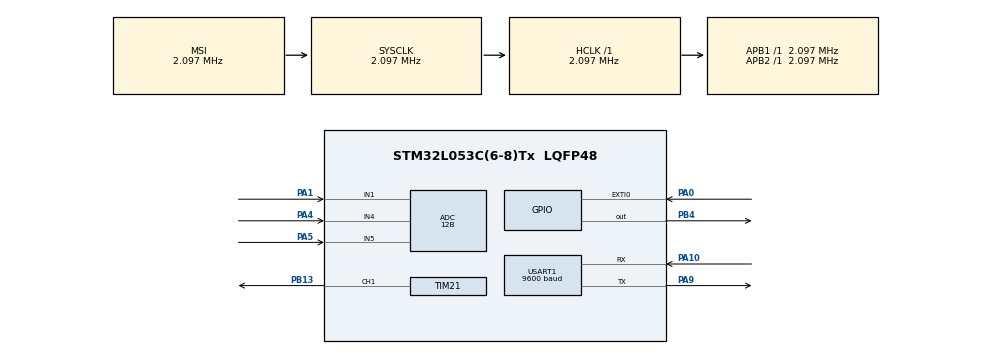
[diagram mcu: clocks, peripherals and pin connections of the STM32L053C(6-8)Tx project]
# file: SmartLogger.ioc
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ADC.ClockPrescaler=ADC_CLOCK_SYNC_PCLK_DIV1
ADC.ContinuousConvMode=ENABLE
ADC.DMAContinuousRequests=ENABLE
ADC.DataAlign=ADC_DATAALIGN_RIGHT
ADC.DiscontinuousConvMode=DISABLE
ADC.EOCSelection=ADC_EOC_SINGLE_CONV
ADC.EnableAnalogWatchDog=false
ADC.ExternalTrigConvEdge=ADC_EXTERNALTRIGCONVEDGE_NONE
ADC.LowPowerAutoPowerOff=DISABLE
ADC.LowPowerAutoWait=DISABLE
ADC.LowPowerFrequencyMode=DISABLE
ADC.Overrun=ADC_OVR_DATA_PRESERVED
ADC.OversamplingMode=DISABLE
ADC.Resolution=ADC_RESOLUTION_12B
ADC.SamplingTime=ADC_SAMPLETIME_7CYCLES_5
ADC.ScanConvMode=ADC_SCAN_DIRECTION_FORWARD
Dma.ADC.0.Direction=DMA_PERIPH_TO_MEMORY
Dma.ADC.0.Instance=DMA1_Channel1
Dma.ADC.0.MemDataAlignment=DMA_MDATAALIGN_WORD
Dma.ADC.0.MemInc=DMA_MINC_ENABLE
Dma.ADC.0.Mode=DMA_NORMAL
Dma.ADC.0.PeriphDataAlignment=DMA_PDATAALIGN_WORD
Dma.ADC.0.PeriphInc=DMA_PINC_DISABLE
Dma.ADC.0.Priority=DMA_PRIORITY_LOW
Dma.Request0=ADC
Mcu.Family=STM32L0
Mcu.Name=STM32L053C(6-8)Tx
Mcu.Package=LQFP48
NVIC.DMA1_Channel1_IRQn=true\:0\:0\:false\:false\:true
NVIC.EXTI0_1_IRQn=true\:1\:0\:true\:false\:true
NVIC.TIM6_DAC_IRQn=true\:1\:0\:true\:false\:true
NVIC.USART1_IRQn=true\:0\:0\:false\:false\:true
PA0.Signal=GPXTI0
PA1.Mode=IN1
PA1.Signal=ADC_IN1
PA10.Mode=Asynchronous
PA10.Signal=USART1_RX
PA4.Mode=IN4
PA4.Signal=ADC_IN4
PA5.Mode=IN5
PA5.Signal=ADC_IN5
PA9.Mode=Asynchronous
PA9.Signal=USART1_TX
PB13.Signal=S_TIM21_CH1
PB4.Signal=GPIO_Output
ProjectManager.HeapSize=0x200
ProjectManager.StackSize=0x400
ProjectManager.TargetToolchain=MDK-ARM V5
RCC.AHBFreq_Value=2097000
RCC.APB1Freq_Value=2097000
RCC.APB1TimFreq_Value=2097000
RCC.APB2Freq_Value=2097000
RCC.APB2TimFreq_Value=2097000
RCC.HSE_VALUE=8000000
RCC.HSI16_VALUE=16000000
RCC.HSI48_VALUE=48000000
RCC.HSI_VALUE=16000000
RCC.LSE_VALUE=32768
RCC.MSI_VALUE=2097000
RCC.SYSCLKFreq_VALUE=2097000
RCC.VCOOutputFreq_Value=48000000
SH.S_TIM21_CH1.0=TIM21_CH1,PWM Generation1 CH1
TIM21.Period=100
TIM21.Prescaler=21
TIM21.Pulse-PWM\ Generation1\ CH1=50
TIM6.Period=1000
TIM6.Prescaler=2097
USART1.BaudRate=9600
USART1.WordLength=UART_WORDLENGTH_8B
VP_TIM6_VS_ClockSourceINT.Mode=Enable_Timer
board=SmartLogger

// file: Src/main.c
/**
  ******************************************************************************
  * File Name          : main.c
  * Description        : Main program body
  ******************************************************************************
  *
  * COPYRIGHT(c) 2016 STMicroelectronics
  *
  * Redistribution and use in source and binary forms, with or without modification,
  * are permitted provided that the following conditions are met:
  *   1. Redistributions of source code must retain the above copyright notice,
  *      this list of conditions and the following disclaimer.
  *   2. Redistributions in binary form must reproduce the above copyright notice,
  *      this list of conditions and the following disclaimer in the documentation
  *      and/or other materials provided with the distribution.
  *   3. Neither the name of STMicroelectronics nor the names of its contributors
  *      may be used to endorse or promote products derived from this software
  *      without specific prior written permission.
  *
  * THIS SOFTWARE IS PROVIDED BY THE COPYRIGHT HOLDERS AND CONTRIBUTORS "AS IS"
  * AND ANY EXPRESS OR IMPLIED WARRANTIES, INCLUDING, BUT NOT LIMITED TO, THE
  * IMPLIED WARRANTIES OF MERCHANTABILITY AND FITNESS FOR A PARTICULAR PURPOSE ARE
  * DISCLAIMED. IN NO EVENT SHALL THE COPYRIGHT HOLDER OR CONTRIBUTORS BE LIABLE
  * FOR ANY DIRECT, INDIRECT, INCIDENTAL, SPECIAL, EXEMPLARY, OR CONSEQUENTIAL
  * DAMAGES (INCLUDING, BUT NOT LIMITED TO, PROCUREMENT OF SUBSTITUTE GOODS OR
  * SERVICES; LOSS OF USE, DATA, OR PROFITS; OR BUSINESS INTERRUPTION) HOWEVER
  * CAUSED AND ON ANY THEORY OF LIABILITY, WHETHER IN CONTRACT, STRICT LIABILITY,
  * OR TORT (INCLUDING NEGLIGENCE OR OTHERWISE) ARISING IN ANY WAY OUT OF THE USE
  * OF THIS SOFTWARE, EVEN IF ADVISED OF THE POSSIBILITY OF SUCH DAMAGE.
  *
  ******************************************************************************
  */
#include "stm32l0xx_hal.h"
#include <string.h>
#include <stdio.h>
#include <math.h>

ADC_HandleTypeDef hadc;
DMA_HandleTypeDef hdma_adc;
TIM_HandleTypeDef htim6;
TIM_HandleTypeDef htim21;
UART_HandleTypeDef huart1;

/* USER CODE BEGIN PV */
char nl,chr;
float temp,curr;

typedef struct{
	uint8_t hour;
	uint8_t min;
	uint8_t sec;
	uint8_t sub;
	uint8_t interval;
}Timer;
Timer myTimer;

#define SENDMSG(__R__) HAL_UART_Transmit(&huart1,(uint8_t*)__R__, COUNTOF(__R__) ,500);
#define COUNTOF(__BUFFER__)   (sizeof(__BUFFER__) / sizeof(*(__BUFFER__)))
/* Private variables ---------------------------------------------------------*/
char RBUF;
uint16_t i;
uint32_t abuf[3];
uint32_t tempT;

/*State machine variable*/
typedef enum{
	welcome = 0U,
	logging,
	monitor,
	setting,
}osState;

typedef struct{
	osState state;
	volatile uint8_t mflg;
	volatile uint8_t deci_sec_flg;
	volatile uint8_t sec_flg;
	volatile uint8_t timer_flg;
}StateMachine;
StateMachine mySM;

typedef struct{
	volatile float TcalA[5];
	uint8_t latch;
	uint8_t empty;
}SettingData;
SettingData myDat;

typedef struct{
	char info[50];
	char result[50];
	char error[50];
	char names[50];
}MSG;
MSG myMSG;

volatile osState state = welcome;

#define FLASH_USER_START_ADDR   0x8008000   /* Start @ of user Flash area */
#define FLASH_USER_END_ADDR     0x800f100   /* End @ of user Flash area */
uint32_t FirstPage = 0, NbOfPages = 0, Address = 0;
uint32_t PageError = 0;
static FLASH_EraseInitTypeDef EraseInitStruct;

/* USER CODE END PV */

void SystemClock_Config(void);
void Error_Handler(void);
static void MX_GPIO_Init(void);
static void MX_DMA_Init(void);
static void MX_ADC_Init(void);
static void MX_TIM6_Init(void);
static void MX_USART1_UART_Init(void);
static void MX_TIM21_Init(void);

void HAL_TIM_MspPostInit(TIM_HandleTypeDef *htim);

/* USER CODE BEGIN PFP */
/* Private function prototypes -----------------------------------------------*/
osState transState(osState,uint8_t);

/* USER CODE END PFP */

/* USER CODE BEGIN 0 */
void HAL_UART_RxCpltCallback(UART_HandleTypeDef *h)
{
	state = transState(state,RBUF);
	HAL_TIM_PWM_Start(&htim21,TIM_CHANNEL_1);
	for(i=0;i<999;i++);
	HAL_TIM_PWM_Stop(&htim21,TIM_CHANNEL_1);
	HAL_UART_Receive_IT(&huart1, (uint8_t *)&RBUF, 1);
}

void HAL_TIM_PeriodElapsedCallback(TIM_HandleTypeDef *htim)
{
	/*if (sec==1)
		HAL_TIM_PWM_Start(&htim21,TIM_CHANNEL_1);
	else if (sec==2)
		HAL_TIM_PWM_Stop(&htim21,TIM_CHANNEL_1);
	else{
		if (!mflg){
		HAL_TIM_PWM_Start(&htim21,TIM_CHANNEL_1);
		HAL_Delay(2);
		HAL_TIM_PWM_Stop(&htim21,TIM_CHANNEL_1);
		}
	}*/

	myTimer.sub++;
	HAL_GPIO_TogglePin(GPIOB, GPIO_PIN_4);

	if (myTimer.sub % 50 == 0) mySM.deci_sec_flg = 1;

	if(myTimer.sub == 100){
		myTimer.sub = 0;
		myTimer.sec++;
		mySM.sec_flg = 1;
		if(myTimer.sec == 60){
			myTimer.sec = 0;
			myTimer.min++;
			if(myTimer.min == 60){
				myTimer.min = 0;
				myTimer.hour++;
			}
		}
	}
		//HAL_TIM_PWM_Start(&htim21,TIM_CHANNEL_1);
}
void HAL_GPIO_EXTI_Callback(uint16_t GPIO_Pin)
{
	/*HAL_TIM_Base_Stop_IT(&htim6);
	HAL_TIM_Base_Stop(&htim6);
	HAL_ADC_Stop_DMA(&hadc);
	state = welcome;
	*/
	mySM.mflg = 1 - mySM.mflg;
	HAL_FLASH_Unlock();
	NbOfPages = (FLASH_USER_END_ADDR - FLASH_USER_START_ADDR + 1) >> 7;
	EraseInitStruct.TypeErase = FLASH_TYPEERASE_PAGES;
	EraseInitStruct.PageAddress = FLASH_USER_START_ADDR;
	EraseInitStruct.NbPages = NbOfPages;
	HAL_FLASHEx_Erase(&EraseInitStruct, &PageError);
	myDat.TcalA[0] = .1;
	myDat.TcalA[1] = .2;
	myDat.TcalA[2] = .3;
	myDat.TcalA[3] = pow(4,2.2);
	myDat.TcalA[4] = sin(3.1416);
	memcpy((SettingData*)FLASH_USER_START_ADDR, &myDat, sizeof(SettingData));
	memcpy(&myDat, (SettingData*)FLASH_USER_START_ADDR, sizeof(SettingData));
	HAL_FLASH_Lock();
}

void num2str(uint16_t num)
{
  uint16_t i, j;
  uint8_t	res;
  j = 1000;
	for(i = 4; i > 0; i--){
    res = (num / j) % 10 + '0';
		HAL_UART_Transmit(&huart1, &res, 1 ,100);
		j = j / 10;
  }
}

osState transState(osState state,uint8_t cmd){
	osState res = welcome;
 switch(state){
		case welcome:
			switch(cmd){
				case '1':{
						res = logging;
						break;
					}
				case '2':{
						res = monitor;
						break;
					}
				case '3':{
						res = setting;
						break;
					}
				default: break;
			}
			break;
		case logging:
			switch(cmd){
				case '0':{
						res = welcome;
						break;
					}
				default: break;
			}
			break;
		case monitor:
			switch(cmd){
				case '0':{
						res = welcome;
						break;
					}
				default: break;
			}
			break;
		case setting:
			switch(cmd){
				case '0':{
						res = welcome;
						break;
					}
				default: break;
			}
			break;
		default: break;
	}
	/*switch(cmd){
		case '1':{PRINTS("start logging",newline)};break;
		case '2':{PRINTS("monitoring",newline)};break;
		case '3':{PRINTS("setting",newline)};break;
		case '4':{PRINTS("calibrating",newline)};break;
		default: break;
	}*/
	return res;
}

/* USER CODE END 0 */

int main(void)
{

  /* MCU Configuration----------------------------------------------------------*/

  /* Reset of all peripherals, Initializes the Flash interface and the Systick. */
  HAL_Init();

  /* Configure the system clock */
  SystemClock_Config();

  /* Initialize all configured peripherals */
  MX_GPIO_Init();
  MX_DMA_Init();
  MX_ADC_Init();
  MX_TIM6_Init();
  MX_USART1_UART_Init();
  MX_TIM21_Init();

  /* USER CODE BEGIN 2 */
	sprintf(myMSG.info,"\n\r\n\r\n\r\n\r\n\r\n\r\n\r\n\r\n\r\n\r\n\r\n\r\n\r\n\r\n\r\n\r\n\r");
	SENDMSG(myMSG.info)
	sprintf(myMSG.info,"***********************************************\n\r");
	SENDMSG(myMSG.info)
	sprintf(myMSG.info,"Welcome to the EYEQ4 chip validation logger!\n\r");
	SENDMSG(myMSG.info)

	HAL_ADCEx_Calibration_Start(&hadc, ADC_SINGLE_ENDED);
	HAL_TIM_Base_Start(&htim21);
	//HAL_TIM_PWM_Start(&htim21,TIM_CHANNEL_1);

  /* USER CODE END 2 */

  /* Infinite loop */
  while (1)
  {

  /* USER CODE BEGIN 3 */
		if(state == welcome){
			myTimer.hour = 0;
			myTimer.min = 0;
			myTimer.sec = 0;
			myTimer.sub = 0;
			HAL_TIM_Base_Stop_IT(&htim6);
			HAL_TIM_Base_Stop(&htim6);
			HAL_ADC_Stop_DMA(&hadc);
			sprintf(myMSG.info,"1.Logger\n\r2.Meter\n\r3.Settings\n\r            ");
			SENDMSG(myMSG.info)
			HAL_UART_Receive_IT(&huart1, (uint8_t *)&RBUF, 1);
			while(state == welcome){
			}
		}
		if(state == logging){
			HAL_TIM_Base_Start(&htim6);
			HAL_TIM_Base_Start_IT(&htim6);
			while(state == logging){
				if (mySM.sec_flg){
					mySM.sec_flg = 0;
					HAL_ADC_Start_DMA(&hadc,abuf,3);
					tempT = HAL_GetTick();
					while(tempT + 50> HAL_GetTick());
					HAL_ADC_Stop_DMA(&hadc);
					temp = ((float)abuf[0] / 32 + 50);
					curr = ((float)(abuf[2]-(float)abuf[1])/20);
					sprintf(myMSG.result,"\r%2d:%2d:%2d, %3.3f, %3.3f, %3.3f         ", myTimer.hour, myTimer.min, myTimer.sec, curr, temp, pow(temp,1.25));
					SENDMSG(myMSG.result)
					sprintf(myMSG.names,"\r\n  time     current     temperature");
					SENDMSG(myMSG.names)
					if (!mySM.mflg){
						HAL_TIM_PWM_Start(&htim21,TIM_CHANNEL_1);
						HAL_Delay(2);
						HAL_TIM_PWM_Stop(&htim21,TIM_CHANNEL_1);
					}
				}
			}
			HAL_TIM_Base_Stop_IT(&htim6);
			HAL_TIM_Base_Stop(&htim6);
		}
		if(state == monitor){
			sprintf(myMSG.info,"I1   I2   T1    T2               \n");
			SENDMSG(myMSG.info)
			HAL_TIM_Base_Start(&htim6);
			HAL_TIM_Base_Start_IT(&htim6);
			HAL_UART_Receive_IT(&huart1, (uint8_t *)&RBUF, 1);
			while(state == monitor){
				if (mySM.deci_sec_flg){
					mySM.deci_sec_flg = 0;
					HAL_ADC_Start_DMA(&hadc,abuf,3);
					tempT = HAL_GetTick();
					while(tempT + 50> HAL_GetTick());
					HAL_ADC_Stop_DMA(&hadc);
					temp = ((float)abuf[0] / 32 + 50);
					curr = ((float)(abuf[2]-(float)abuf[1])/20);
					sprintf(myMSG.result,"\r%3.3f, %3.3f, %3.3f                     ", curr, temp, pow(temp,1.25));
					SENDMSG(myMSG.result)
				}
			}
		}
  }
  /* USER CODE END 3 */

}

/** System Clock Configuration
*/
void SystemClock_Config(void)
{

  RCC_OscInitTypeDef RCC_OscInitStruct;
  RCC_ClkInitTypeDef RCC_ClkInitStruct;
  RCC_PeriphCLKInitTypeDef PeriphClkInit;

  __HAL_RCC_PWR_CLK_ENABLE();

  __HAL_PWR_VOLTAGESCALING_CONFIG(PWR_REGULATOR_VOLTAGE_SCALE1);

  RCC_OscInitStruct.OscillatorType = RCC_OSCILLATORTYPE_MSI;
  RCC_OscInitStruct.MSIState = RCC_MSI_ON;
  RCC_OscInitStruct.MSICalibrationValue = 0;
  RCC_OscInitStruct.MSIClockRange = RCC_MSIRANGE_5;
  RCC_OscInitStruct.PLL.PLLState = RCC_PLL_NONE;
  if (HAL_RCC_OscConfig(&RCC_OscInitStruct) != HAL_OK)
  {
    Error_Handler();
  }

  RCC_ClkInitStruct.ClockType = RCC_CLOCKTYPE_HCLK|RCC_CLOCKTYPE_SYSCLK
                              |RCC_CLOCKTYPE_PCLK1|RCC_CLOCKTYPE_PCLK2;
  RCC_ClkInitStruct.SYSCLKSource = RCC_SYSCLKSOURCE_MSI;
  RCC_ClkInitStruct.AHBCLKDivider = RCC_SYSCLK_DIV1;
  RCC_ClkInitStruct.APB1CLKDivider = RCC_HCLK_DIV1;
  RCC_ClkInitStruct.APB2CLKDivider = RCC_HCLK_DIV1;
  if (HAL_RCC_ClockConfig(&RCC_ClkInitStruct, FLASH_LATENCY_0) != HAL_OK)
  {
    Error_Handler();
  }

  PeriphClkInit.PeriphClockSelection = RCC_PERIPHCLK_USART1;
  PeriphClkInit.Usart1ClockSelection = RCC_USART1CLKSOURCE_PCLK2;
  if (HAL_RCCEx_PeriphCLKConfig(&PeriphClkInit) != HAL_OK)
  {
    Error_Handler();
  }

  HAL_SYSTICK_Config(HAL_RCC_GetHCLKFreq()/1000);

  HAL_SYSTICK_CLKSourceConfig(SYSTICK_CLKSOURCE_HCLK);

  /* SysTick_IRQn interrupt configuration */
  HAL_NVIC_SetPriority(SysTick_IRQn, 0, 0);
}

/* ADC init function */
static void MX_ADC_Init(void)
{

  ADC_ChannelConfTypeDef sConfig;

    /**Configure the global features of the ADC (Clock, Resolution, Data Alignment and number of conversion)
    */
  hadc.Instance = ADC1;
  hadc.Init.OversamplingMode = DISABLE;
  hadc.Init.ClockPrescaler = ADC_CLOCK_SYNC_PCLK_DIV1;
  hadc.Init.Resolution = ADC_RESOLUTION_12B;
  hadc.Init.SamplingTime = ADC_SAMPLETIME_7CYCLES_5;
  hadc.Init.ScanConvMode = ADC_SCAN_DIRECTION_FORWARD;
  hadc.Init.DataAlign = ADC_DATAALIGN_RIGHT;
  hadc.Init.ContinuousConvMode = ENABLE;
  hadc.Init.DiscontinuousConvMode = DISABLE;
  hadc.Init.ExternalTrigConvEdge = ADC_EXTERNALTRIGCONVEDGE_NONE;
  hadc.Init.DMAContinuousRequests = ENABLE;
  hadc.Init.EOCSelection = ADC_EOC_SINGLE_CONV;
  hadc.Init.Overrun = ADC_OVR_DATA_PRESERVED;
  hadc.Init.LowPowerAutoWait = DISABLE;
  hadc.Init.LowPowerFrequencyMode = DISABLE;
  hadc.Init.LowPowerAutoPowerOff = DISABLE;
  if (HAL_ADC_Init(&hadc) != HAL_OK)
  {
    Error_Handler();
  }

    /**Configure for the selected ADC regular channel to be converted.
    */
  sConfig.Channel = ADC_CHANNEL_1;
  sConfig.Rank = ADC_RANK_CHANNEL_NUMBER;
  if (HAL_ADC_ConfigChannel(&hadc, &sConfig) != HAL_OK)
  {
    Error_Handler();
  }

    /**Configure for the selected ADC regular channel to be converted.
    */
  sConfig.Channel = ADC_CHANNEL_4;
  if (HAL_ADC_ConfigChannel(&hadc, &sConfig) != HAL_OK)
  {
    Error_Handler();
  }

    /**Configure for the selected ADC regular channel to be converted.
    */
  sConfig.Channel = ADC_CHANNEL_5;
  if (HAL_ADC_ConfigChannel(&hadc, &sConfig) != HAL_OK)
  {
    Error_Handler();
  }

}

/* TIM6 init function */
static void MX_TIM6_Init(void)
{

  TIM_MasterConfigTypeDef sMasterConfig;

  htim6.Instance = TIM6;
  htim6.Init.Prescaler = 2097 / 100;
  htim6.Init.CounterMode = TIM_COUNTERMODE_UP;
  htim6.Init.Period = 1000;
  if (HAL_TIM_Base_Init(&htim6) != HAL_OK)
  {
    Error_Handler();
  }

  sMasterConfig.MasterOutputTrigger = TIM_TRGO_RESET;
  sMasterConfig.MasterSlaveMode = TIM_MASTERSLAVEMODE_DISABLE;
  if (HAL_TIMEx_MasterConfigSynchronization(&htim6, &sMasterConfig) != HAL_OK)
  {
    Error_Handler();
  }

}

/* TIM21 init function */
static void MX_TIM21_Init(void)
{

  TIM_MasterConfigTypeDef sMasterConfig;
  TIM_OC_InitTypeDef sConfigOC;

  htim21.Instance = TIM21;
  htim21.Init.Prescaler = 21;
  htim21.Init.CounterMode = TIM_COUNTERMODE_UP;
  htim21.Init.Period = 100;
  htim21.Init.ClockDivision = TIM_CLOCKDIVISION_DIV1;
  if (HAL_TIM_PWM_Init(&htim21) != HAL_OK)
  {
    Error_Handler();
  }

  sMasterConfig.MasterOutputTrigger = TIM_TRGO_RESET;
  sMasterConfig.MasterSlaveMode = TIM_MASTERSLAVEMODE_DISABLE;
  if (HAL_TIMEx_MasterConfigSynchronization(&htim21, &sMasterConfig) != HAL_OK)
  {
    Error_Handler();
  }

  sConfigOC.OCMode = TIM_OCMODE_PWM1;
  sConfigOC.Pulse = 50;
  sConfigOC.OCPolarity = TIM_OCPOLARITY_HIGH;
  sConfigOC.OCFastMode = TIM_OCFAST_DISABLE;
  if (HAL_TIM_PWM_ConfigChannel(&htim21, &sConfigOC, TIM_CHANNEL_1) != HAL_OK)
  {
    Error_Handler();
  }

  HAL_TIM_MspPostInit(&htim21);

}

/* USART1 init function */
static void MX_USART1_UART_Init(void)
{

  huart1.Instance = USART1;
  huart1.Init.BaudRate = 9600;
  huart1.Init.WordLength = UART_WORDLENGTH_8B;
  huart1.Init.StopBits = UART_STOPBITS_1;
  huart1.Init.Parity = UART_PARITY_NONE;
  huart1.Init.Mode = UART_MODE_TX_RX;
  huart1.Init.HwFlowCtl = UART_HWCONTROL_NONE;
  huart1.Init.OverSampling = UART_OVERSAMPLING_16;
  huart1.Init.OneBitSampling = UART_ONE_BIT_SAMPLE_DISABLE;
  huart1.AdvancedInit.AdvFeatureInit = UART_ADVFEATURE_NO_INIT;
  if (HAL_UART_Init(&huart1) != HAL_OK)
  {
    Error_Handler();
  }

}

static void MX_DMA_Init(void)
{
  /* DMA controller clock enable */
  __HAL_RCC_DMA1_CLK_ENABLE();

  /* DMA interrupt init */
  /* DMA1_Channel1_IRQn interrupt configuration */
  HAL_NVIC_SetPriority(DMA1_Channel1_IRQn, 0, 0);
  HAL_NVIC_EnableIRQ(DMA1_Channel1_IRQn);

}

/** Configure pins as
        * Analog
        * Input
        * Output
        * EVENT_OUT
        * EXTI
*/
static void MX_GPIO_Init(void)
{

  GPIO_InitTypeDef GPIO_InitStruct;

  /* GPIO Ports Clock Enable */
  __HAL_RCC_GPIOA_CLK_ENABLE();
  __HAL_RCC_GPIOB_CLK_ENABLE();

  /*Configure GPIO pin : PA0 */
  GPIO_InitStruct.Pin = GPIO_PIN_0;
  GPIO_InitStruct.Mode = GPIO_MODE_IT_RISING;
  GPIO_InitStruct.Pull = GPIO_NOPULL;
  HAL_GPIO_Init(GPIOA, &GPIO_InitStruct);

  /*Configure GPIO pin : PB4 */
  GPIO_InitStruct.Pin = GPIO_PIN_4;
  GPIO_InitStruct.Mode = GPIO_MODE_OUTPUT_PP;
  GPIO_InitStruct.Pull = GPIO_NOPULL;
  GPIO_InitStruct.Speed = GPIO_SPEED_FREQ_LOW;
  HAL_GPIO_Init(GPIOB, &GPIO_InitStruct);

  /*Configure GPIO pin Output Level */
  HAL_GPIO_WritePin(GPIOB, GPIO_PIN_4, GPIO_PIN_RESET);

  /* EXTI interrupt init*/
  HAL_NVIC_SetPriority(EXTI0_1_IRQn, 1, 0);
  HAL_NVIC_EnableIRQ(EXTI0_1_IRQn);

}

void Error_Handler(void)
{
  while(1)
  {
  }
}

/************************ (C) COPYRIGHT STMicroelectronics *****END OF FILE****/
